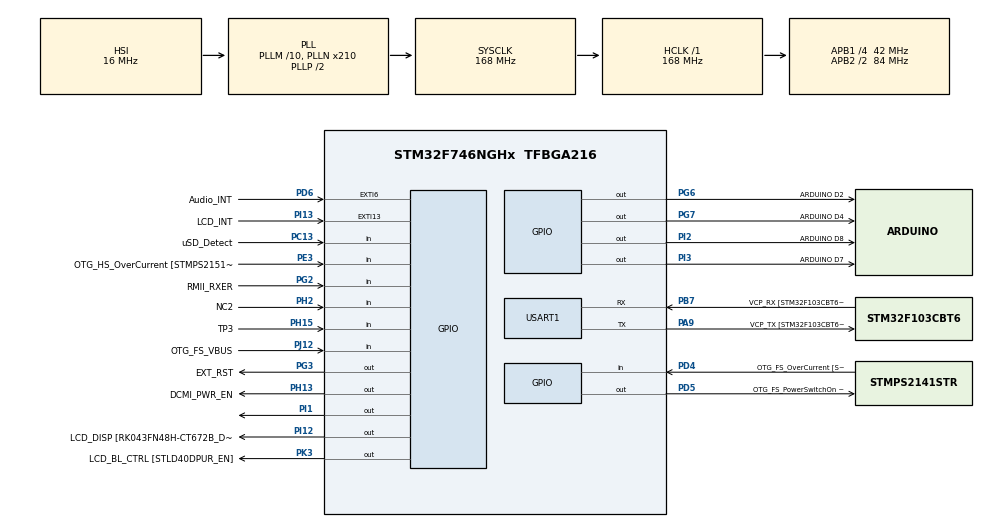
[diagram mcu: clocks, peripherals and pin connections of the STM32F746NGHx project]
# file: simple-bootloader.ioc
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Mcu.Family=STM32F7
Mcu.Name=STM32F746NGHx
Mcu.Package=TFBGA216
NVIC.PriorityGroup=NVIC_PRIORITYGROUP_4
PA0/WKUP.GPIO_Label=ARDUINO A0
PA0/WKUP.GPIO_Mode=GPIO_MODE_ANALOG
PA0/WKUP.GPIO_PuPd=GPIO_NOPULL
PA0/WKUP.Signal=ADCx_IN0
PA1.GPIO_Label=RMII_REF_CLK [LAN8742A-CZ-TR_REFCLK0]
PA1.Signal=ETH_REF_CLK
PA10.GPIO_Label=OTG_FS_ID
PA10.Signal=USB_OTG_FS_ID
PA11.GPIO_Label=OTG_FS_N
PA11.Signal=USB_OTG_FS_DM
PA12.GPIO_Label=OTG_FS_P
PA12.Signal=USB_OTG_FS_DP
PA13.GPIO_Label=SWDIO
PA13.Signal=SYS_JTMS-SWDIO
PA14.GPIO_Label=SWCLK
PA14.Signal=SYS_JTCK-SWCLK
PA15.GPIO_Label=ARDUINO PWM/D9
PA15.GPIO_ModeDefaultPP=GPIO_MODE_AF_PP
PA15.GPIO_PuPd=GPIO_NOPULL
PA15.GPIO_Speed=GPIO_SPEED_FREQ_LOW
PA15.Signal=S_TIM2_CH1_ETR
PA2.GPIO_Label=RMII_MDIO [LAN8742A-CZ-TR_MDIO]
PA2.Signal=ETH_MDIO
PA3.GPIO_Label=ULPI_D0 [USB3320C-EZK_D0]
PA3.Signal=USB_OTG_HS_ULPI_D0
PA4.GPIO_Label=DCMI_HSYNC
PA4.Signal=DCMI_HSYNC
PA5.GPIO_Label=ULPI_CLK [USB3320C-EZK_CLKOUT]
PA5.Signal=USB_OTG_HS_ULPI_CK
PA6.Signal=DCMI_PIXCLK
PA7.GPIO_Label=RMII_CRS_DV [LAN8742A-CZ-TR_CRS_DV]
PA7.Signal=ETH_CRS_DV
PA8.GPIO_Label=ARDUINO PWM/D10
PA8.GPIO_ModeDefaultPP=GPIO_MODE_AF_PP
PA8.GPIO_PuPd=GPIO_NOPULL
PA8.GPIO_Speed=GPIO_SPEED_FREQ_LOW
PA8.Signal=S_TIM1_CH1
PA9.GPIO_Label=VCP_TX [STM32F103CBT6_PA3]
PA9.GPIO_Mode=GPIO_MODE_AF_PP
PA9.GPIO_PuPd=GPIO_NOPULL
PA9.GPIO_Speed=GPIO_SPEED_FREQ_LOW
PA9.Mode=Asynchronous
PA9.Signal=USART1_TX
PB0.GPIO_Label=ULPI_D1 [USB3320C-EZK_D1]
PB0.Signal=USB_OTG_HS_ULPI_D1
PB1.GPIO_Label=ULPI_D2 [USB3320C-EZK_D2]
PB1.Signal=USB_OTG_HS_ULPI_D2
PB10.GPIO_Label=ULPI_D3 [USB3320C-EZK_D3]
PB10.Signal=USB_OTG_HS_ULPI_D3
PB11.GPIO_Label=ULPI_D4 [USB3320C-EZK_D4]
PB11.Signal=USB_OTG_HS_ULPI_D4
PB12.GPIO_Label=ULPI_D5 [USB3320C-EZK_D5]
PB12.Signal=USB_OTG_HS_ULPI_D5
PB13.GPIO_Label=ULPI_D6 [USB3320C-EZK_D6]
PB13.Signal=USB_OTG_HS_ULPI_D6
PB14.GPIO_Label=ARDUINO MISO/D12
PB14.GPIO_Mode=GPIO_MODE_AF_PP
PB14.GPIO_PuPd=GPIO_NOPULL
PB14.GPIO_Speed=GPIO_SPEED_FREQ_LOW
PB14.Signal=SPI2_MISO
PB15.GPIO_Label=ARDUINO MOSI/PWM/D11
PB15.GPIO_Mode=GPIO_MODE_AF_PP
PB15.GPIO_PuPd=GPIO_NOPULL
PB15.GPIO_Speed=GPIO_SPEED_FREQ_LOW
PB15.Signal=SPI2_MOSI
PB2.Signal=QUADSPI_CLK
PB3.GPIO_Label=SWO
PB3.Signal=SYS_JTDO-SWO
PB4.GPIO_Label=ARDUINO PWM/D3
PB4.GPIO_ModeDefaultPP=GPIO_MODE_AF_PP
PB4.GPIO_PuPd=GPIO_NOPULL
PB4.GPIO_Speed=GPIO_SPEED_FREQ_LOW
PB4.Signal=S_TIM3_CH1
PB5.GPIO_Label=ULPI_D7 [USB3320C-EZK_D7]
PB5.Signal=USB_OTG_HS_ULPI_D7
PB6.GPIO_Label=QSPI_NCS [N25Q128A13EF840E_S]
PB6.Signal=QUADSPI_BK1_NCS
PB7.GPIO_Label=VCP_RX [STM32F103CBT6_PA2]
PB7.GPIO_Mode=GPIO_MODE_AF_PP
PB7.GPIO_PuPd=GPIO_NOPULL
PB7.GPIO_Speed=GPIO_SPEED_FREQ_LOW
PB7.Mode=Asynchronous
PB7.Signal=USART1_RX
PB8.GPIO_Label=ARDUINO SCL/D15
PB8.GPIO_Mode=GPIO_MODE_AF_OD
PB8.GPIO_PuPd=GPIO_NOPULL
PB8.GPIO_Speed=GPIO_SPEED_FREQ_LOW
PB8.Signal=I2C1_SCL
PB9.GPIO_Label=ARDUINO SDA/D14
PB9.GPIO_Mode=GPIO_MODE_AF_OD
PB9.GPIO_PuPd=GPIO_NOPULL
PB9.GPIO_Speed=GPIO_SPEED_FREQ_LOW
PB9.Signal=I2C1_SDA
PC0.GPIO_Label=ULPI_STP [USB3320C-EZK_STP]
PC0.Signal=USB_OTG_HS_ULPI_STP
PC1.GPIO_Label=RMII_MDC [LAN8742A-CZ-TR_MDC]
PC1.Signal=ETH_MDC
PC10.GPIO_Label=SDMMC_D2
PC10.Signal=SDMMC1_D2
PC11.GPIO_Label=SDMMC_D3
PC11.Signal=SDMMC1_D3
PC12.GPIO_Label=SDMMC_CK
PC12.Signal=SDMMC1_CK
PC13.GPIO_Label=uSD_Detect
PC13.Signal=GPIO_Input
PC14/OSC32_IN.GPIO_Label=RCC_OSC32_IN
PC14/OSC32_IN.Signal=RCC_OSC32_IN
PC15/OSC32_OUT.GPIO_Label=RCC_OSC32_OUT
PC15/OSC32_OUT.Signal=RCC_OSC32_OUT
PC2.GPIO_Label=ULPI_DIR [USB3320C-EZK_DIR]
PC2.Signal=USB_OTG_HS_ULPI_DIR
PC3.GPIO_Label=FMC_SDCKE0 [MT48LC4M32B2B5-6A_CKE]
PC3.Signal=FMC_SDCKE0
PC4.GPIO_Label=RMII_RXD0 [LAN8742A-CZ-TR_RXD0]
PC4.Signal=ETH_RXD0
PC5.GPIO_Label=RMII_RXD1 [LAN8742A-CZ-TR_RXD1]
PC5.Signal=ETH_RXD1
PC6.GPIO_Label=ARDUINO TX/D1
PC6.Signal=USART6_TX
PC7.GPIO_Label=ARDUINO RX/D0
PC7.Signal=USART6_RX
PC8.Signal=SDMMC1_D0
PC9.Signal=SDMMC1_D1
PD0.GPIO_Label=FMC_D2 [MT48LC4M32B2B5-6A_DQ2]
PD0.Signal=FMC_D2_DA2
PD1.GPIO_Label=FMC_D3 [MT48LC4M32B2B5-6A_DQ3]
PD1.Signal=FMC_D3_DA3
PD10.GPIO_Label=FMC_D15 [MT48LC4M32B2B5-6A_DQ15]
PD10.Signal=FMC_D15_DA15
PD11.GPIO_Label=QSPI_D0 [N25Q128A13EF840E_DQ0]
PD11.Signal=QUADSPI_BK1_IO0
PD12.GPIO_Label=QSPI_D1 [N25Q128A13EF840E_DQ1]
PD12.Signal=QUADSPI_BK1_IO1
PD13.GPIO_Label=QSPI_D3 [N25Q128A13EF840E_DQ3]
PD13.Signal=QUADSPI_BK1_IO3
PD14.GPIO_Label=FMC_D0 [MT48LC4M32B2B5-6A_DQ0]
PD14.Signal=FMC_D0_DA0
PD15.GPIO_Label=FMC_D1 [MT48LC4M32B2B5-6A_DQ1]
PD15.Signal=FMC_D1_DA1
PD2.GPIO_Label=SDMMC_D0
PD2.Signal=SDMMC1_CMD
PD3.GPIO_Label=DCMI_D5
PD3.Signal=DCMI_D5
PD4.GPIO_Label=OTG_FS_OverCurrent [STMPS2141STR_Fault]
PD4.Signal=GPIO_Input
PD5.GPIO_Label=OTG_FS_PowerSwitchOn [STMPS2141STR_EN]
PD5.PinState=GPIO_PIN_SET
PD5.Signal=GPIO_Output
PD6.GPIO_Label=Audio_INT
PD6.GPIO_ModeDefaultEXTI=GPIO_MODE_EVT_RISING
PD6.Signal=GPXTI6
PD7.GPIO_Label=SPDIF_RX0 [74LVC1G04SE_4]
PD7.Signal=SPDIFRX_IN0
PD8.GPIO_Label=FMC_D13 [MT48LC4M32B2B5-6A_DQ13]
PD8.Signal=FMC_D13_DA13
PD9.GPIO_Label=FMC_D14 [MT48LC4M32B2B5-6A_DQ14]
PD9.Signal=FMC_D14_DA14
PE0.GPIO_Label=FMC_NBL0 [MT48LC4M32B2B5-6A_DQM0]
PE0.Signal=FMC_NBL0
PE1.GPIO_Label=FMC_NBL1 [MT48LC4M32B2B5-6A_DQM1]
PE1.Signal=FMC_NBL1
PE10.GPIO_Label=FMC_D7 [MT48LC4M32B2B5-6A_DQ7]
PE10.Signal=FMC_D7_DA7
PE11.GPIO_Label=FMC_D8 [MT48LC4M32B2B5-6A_DQ8]
PE11.Signal=FMC_D8_DA8
PE12.GPIO_Label=FMC_D9 [MT48LC4M32B2B5-6A_DQ9]
PE12.Signal=FMC_D9_DA9
PE13.GPIO_Label=FMC_D10 [MT48LC4M32B2B5-6A_DQ10]
PE13.Signal=FMC_D10_DA10
PE14.GPIO_Label=FMC_D11 [MT48LC4M32B2B5-6A_DQ11]
PE14.Signal=FMC_D11_DA11
PE15.GPIO_Label=FMC_D12 [MT48LC4M32B2B5-6A_DQ12]
PE15.Signal=FMC_D12_DA12
PE2.GPIO_Label=QSPI_D2 [N25Q128A13EF840E_DQ2]
PE2.Signal=QUADSPI_BK1_IO2
PE3.GPIO_Label=OTG_HS_OverCurrent [STMPS2151STR_FAULT]
PE3.Signal=GPIO_Input
PE4.GPIO_Label=LCD_B0 [RK043FN48H-CT672B_B0]
PE4.Signal=LTDC_B0
PE5.GPIO_Label=DCMI_D6
PE5.Signal=DCMI_D6
PE6.GPIO_Label=DCMI_D7
PE6.Signal=DCMI_D7
PE7.GPIO_Label=FMC_D4 [MT48LC4M32B2B5-6A_DQ4]
PE7.Signal=FMC_D4_DA4
PE8.GPIO_Label=FMC_D5 [MT48LC4M32B2B5-6A_DQ5]
PE8.Signal=FMC_D5_DA5
PE9.GPIO_Label=FMC_D6 [MT48LC4M32B2B5-6A_DQ6]
PE9.Signal=FMC_D6_DA6
PF0.GPIO_Label=FMC_A0 [MT48LC4M32B2B5-6A_A0]
PF0.Signal=FMC_A0
PF1.GPIO_Label=FMC_A1 [MT48LC4M32B2B5-6A_A1]
PF1.Signal=FMC_A1
PF10.GPIO_Label=ARDUINO A1
PF10.GPIO_Mode=GPIO_MODE_ANALOG
PF10.GPIO_PuPd=GPIO_NOPULL
PF10.Signal=ADC3_IN8
PF11.GPIO_Label=FMC_SDNRAS [MT48LC4M32B2B5-6A_RAS]
PF11.Signal=FMC_SDNRAS
PF12.GPIO_Label=FMC_A6 [MT48LC4M32B2B5-6A_A6]
PF12.Signal=FMC_A6
PF13.GPIO_Label=FMC_A7 [MT48LC4M32B2B5-6A_A7]
PF13.Signal=FMC_A7
PF14.GPIO_Label=FMC_A8 [MT48LC4M32B2B5-6A_A8]
PF14.Signal=FMC_A8
PF15.GPIO_Label=FMC_A9 [MT48LC4M32B2B5-6A_A9]
PF15.Signal=FMC_A9
PF2.GPIO_Label=FMC_A2 [MT48LC4M32B2B5-6A_A2]
PF2.Signal=FMC_A2
PF3.GPIO_Label=FMC_A3 [MT48LC4M32B2B5-6A_A3]
PF3.Signal=FMC_A3
PF4.GPIO_Label=FMC_A4 [MT48LC4M32B2B5-6A_A4]
PF4.Signal=FMC_A4
PF5.GPIO_Label=FMC_A5 [MT48LC4M32B2B5-6A_A5]
PF5.Signal=FMC_A5
PF6.GPIO_Label=ARDUINO A5
PF6.GPIO_Mode=GPIO_MODE_ANALOG
PF6.GPIO_PuPd=GPIO_NOPULL
PF6.Signal=ADC3_IN4
PF7.GPIO_Label=ARDUINO A4
PF7.GPIO_Mode=GPIO_MODE_ANALOG
PF7.GPIO_PuPd=GPIO_NOPULL
PF7.Signal=ADC3_IN5
PF8.GPIO_Label=ARDUINO A3
PF8.GPIO_Mode=GPIO_MODE_ANALOG
PF8.GPIO_PuPd=GPIO_NOPULL
PF8.Signal=ADC3_IN6
PF9.GPIO_Label=ARDUINO A2
PF9.GPIO_Mode=GPIO_MODE_ANALOG
PF9.GPIO_PuPd=GPIO_NOPULL
PF9.Signal=ADC3_IN7
PG0.GPIO_Label=FMC_A10 [MT48LC4M32B2B5-6A_A10]
PG0.Signal=FMC_A10
PG1.GPIO_Label=FMC_A11 [MT48LC4M32B2B5-6A_A11]
PG1.Signal=FMC_A11
PG10.GPIO_Label=SAI2_SDB [WM8994ECS/R_ADCDAT1]
PG10.Signal=SAI2_SD_B
PG11.GPIO_Label=RMII_TX_EN [LAN8742A-CZ-TR_TXEN]
PG11.Signal=ETH_TX_EN
PG12.GPIO_Label=LCD_B4 [RK043FN48H-CT672B_B4]
PG12.Signal=LTDC_B4
PG13.GPIO_Label=RMII_TXD0 [LAN8742A-CZ-TR_TXD0]
PG13.Signal=ETH_TXD0
PG14.GPIO_Label=RMII_TXD1 [LAN8742A-CZ-TR_TXD1]
PG14.Signal=ETH_TXD1
PG15.GPIO_Label=FMC_SDNCAS [MT48LC4M32B2B5-6A_CAS]
PG15.Signal=FMC_SDNCAS
PG2.GPIO_Label=RMII_RXER
PG2.Signal=GPIO_Input
PG3.GPIO_Label=EXT_RST
PG3.Signal=GPIO_Output
PG4.GPIO_Label=FMC_BA0 [MT48LC4M32B2B5-6A_BA0]
PG4.Signal=FMC_A14_BA0
PG5.GPIO_Label=FMC_BA1 [MT48LC4M32B2B5-6A_BA1]
PG5.Signal=FMC_A15_BA1
PG6.GPIO_Label=ARDUINO D2
PG6.Signal=GPIO_Output
PG7.GPIO_Label=ARDUINO D4
PG7.Signal=GPIO_Output
PG8.GPIO_Label=FMC_SDCLK [MT48LC4M32B2B5-6A_CLK]
PG8.Signal=FMC_SDCLK
PG9.GPIO_Label=DCMI_VSYNC
PG9.Signal=DCMI_VSYNC
PH0/OSC_IN.GPIO_Label=OSC_25M [NZ2520SB-25.00M_OUT]
PH0/OSC_IN.Signal=RCC_OSC_IN
PH1/OSC_OUT.Signal=RCC_OSC_OUT
PH10.GPIO_Label=DCMI_D1
PH10.Signal=DCMI_D1
PH11.GPIO_Label=DCMI_D2
PH11.Signal=DCMI_D2
PH12.GPIO_Label=DCMI_D3
PH12.Signal=DCMI_D3
PH13.GPIO_Label=DCMI_PWR_EN
PH13.Signal=GPIO_Output
PH14.GPIO_Label=DCMI_D4
PH14.Signal=DCMI_D4
PH15.GPIO_Label=TP3
PH15.Signal=GPIO_Input
PH2.GPIO_Label=NC2
PH2.Signal=GPIO_Input
PH3.GPIO_Label=FMC_SDNE0 [MT48LC4M32B2B5-6A_CS]
PH3.Signal=FMC_SDNE0
PH4.GPIO_Label=ULPI_NXT [USB3320C-EZK_NXT]
PH4.Signal=USB_OTG_HS_ULPI_NXT
PH5.GPIO_Label=FMC_SDNME [MT48LC4M32B2B5-6A_WE]
PH5.Signal=FMC_SDNWE
PH6.GPIO_Label=ARDUINO PWM/D6
PH6.Signal=S_TIM12_CH1
PH7.GPIO_Label=LCD_SCL [RK043FN48H-CT672B_SCL]
PH7.Signal=I2C3_SCL
PH8.GPIO_Label=LCD_SDA [RK043FN48H-CT672B_SDA]
PH8.Signal=I2C3_SDA
PH9.GPIO_Label=DCMI_D0
PH9.Signal=DCMI_D0
PI0.GPIO_Label=ARDUINO PWM/CS/D5
PI0.GPIO_ModeDefaultPP=GPIO_MODE_AF_PP
PI0.GPIO_PuPd=GPIO_NOPULL
PI0.GPIO_Speed=GPIO_SPEED_FREQ_LOW
PI0.Signal=S_TIM5_CH4
PI1.Signal=GPIO_Output
PI10.GPIO_Label=LCD_HSYNC [RK043FN48H-CT672B_HSYNC]
PI10.Signal=LTDC_HSYNC
PI12.GPIO_Label=LCD_DISP [RK043FN48H-CT672B_DISP] 
PI12.Signal=GPIO_Output
PI13.GPIO_Label=LCD_INT
PI13.GPIO_ModeDefaultEXTI=GPIO_MODE_EVT_RISING
PI13.Signal=GPXTI13
PI14.GPIO_Label=LCD_CLK [RK043FN48H-CT672B_CLK]
PI14.Signal=LTDC_CLK
PI15.GPIO_Label=LCD_R0 [RK043FN48H-CT672B_R0]
PI15.Signal=LTDC_R0
PI2.GPIO_Label=ARDUINO D8
PI2.Signal=GPIO_Output
PI3.GPIO_Label=ARDUINO D7
PI3.Signal=GPIO_Output
PI4.GPIO_Label=SAI2_MCLKA [WM8994ECS/R_MCLK1]
PI4.Signal=SAI2_MCLK_A
PI5.GPIO_Label=SAI2_SCKA [WM8994ECS/R_BCLK1]
PI5.Signal=SAI2_SCK_A
PI6.GPIO_Label=SAI2_SDA [WM8994ECS/R_DACDAT1]
PI6.Signal=SAI2_SD_A
PI7.GPIO_Label=SAI2_FSA [WM8994ECS/R_LRCLK1]
PI7.Signal=SAI2_FS_A
PI8.GPIO_Label=NC1 [TP2]
PI8.Signal=RTC_TS
PI9.GPIO_Label=LCD_VSYNC [RK043FN48H-CT672B_VSYNC]
PI9.Signal=LTDC_VSYNC
PJ0.GPIO_Label=LCD_R1 [RK043FN48H-CT672B_R1]
PJ0.Signal=LTDC_R1
PJ1.GPIO_Label=LCD_R2 [RK043FN48H-CT672B_R2]
PJ1.Signal=LTDC_R2
PJ10.GPIO_Label=LCD_G3 [RK043FN48H-CT672B_G3]
PJ10.Signal=LTDC_G3
PJ11.GPIO_Label=LCD_G4 [RK043FN48H-CT672B_G4]
PJ11.Signal=LTDC_G4
PJ12.GPIO_Label=OTG_FS_VBUS
PJ12.Signal=GPIO_Input
PJ13.GPIO_Label=LCD_B1 [RK043FN48H-CT672B_B1]
PJ13.Signal=LTDC_B1
PJ14.GPIO_Label=LCD_B2 [RK043FN48H-CT672B_B2]
PJ14.Signal=LTDC_B2
PJ15.GPIO_Label=LCD_B3 [RK043FN48H-CT672B_B3]
PJ15.Signal=LTDC_B3
PJ2.GPIO_Label=LCD_R3 [RK043FN48H-CT672B_R3]
PJ2.Signal=LTDC_R3
PJ3.GPIO_Label=LCD_R4 [RK043FN48H-CT672B_R4]
PJ3.Signal=LTDC_R4
PJ4.GPIO_Label=LCD_R5 [RK043FN48H-CT672B_R5]
PJ4.Signal=LTDC_R5
PJ5.GPIO_Label=LCD_R6 [RK043FN48H-CT672B_R6]
PJ5.Signal=LTDC_R6
PJ6.GPIO_Label=LCD_R7 [RK043FN48H-CT672B_R7]
PJ6.Signal=LTDC_R7
PJ7.GPIO_Label=LCD_G0 [RK043FN48H-CT672B_G0]
PJ7.Signal=LTDC_G0
PJ8.GPIO_Label=LCD_G1 [RK043FN48H-CT672B_G1]
PJ8.Signal=LTDC_G1
PJ9.GPIO_Label=LCD_G2 [RK043FN48H-CT672B_G2]
PJ9.Signal=LTDC_G2
PK0.GPIO_Label=LCD_G5 [RK043FN48H-CT672B_G5]
PK0.Signal=LTDC_G5
PK1.GPIO_Label=LCD_G6 [RK043FN48H-CT672B_G6]
PK1.Signal=LTDC_G6
PK2.GPIO_Label=LCD_G7 [RK043FN48H-CT672B_G7]
PK2.Signal=LTDC_G7
PK3.GPIO_Label=LCD_BL_CTRL [STLD40DPUR_EN]
PK3.Signal=GPIO_Output
PK4.GPIO_Label=LCD_B5 [RK043FN48H-CT672B_B5]
PK4.Signal=LTDC_B5
PK5.GPIO_Label=LCD_B6 [RK043FN48H-CT672B_B6]
PK5.Signal=LTDC_B6
PK6.GPIO_Label=LCD_B7 [RK043FN48H-CT672B_B7]
PK6.Signal=LTDC_B7
PK7.GPIO_Label=LCD_DE [RK043FN48H-CT672B_DE]
PK7.Signal=LTDC_DE
ProjectManager.HeapSize=0x200
ProjectManager.StackSize=0x400
ProjectManager.TargetToolchain=STM32CubeIDE
RCC.AHBFreq_Value=168000000
RCC.APB1CLKDivider=RCC_HCLK_DIV4
RCC.APB1Freq_Value=42000000
RCC.APB1TimFreq_Value=84000000
RCC.APB2CLKDivider=RCC_HCLK_DIV2
RCC.APB2Freq_Value=84000000
RCC.APB2TimFreq_Value=168000000
RCC.CortexFreq_Value=168000000
RCC.HCLKFreq_Value=168000000
RCC.HSE_VALUE=25000000
RCC.HSI_VALUE=16000000
RCC.LSE_VALUE=32768
RCC.PLLM=10
RCC.PLLN=210
RCC.PLLSourceVirtual=RCC_PLLSOURCE_HSI
RCC.SYSCLKFreq_VALUE=168000000
RCC.SYSCLKSource=RCC_SYSCLKSOURCE_PLLCLK
RCC.USBFreq_Value=168000000
RCC.VCOOutputFreq_Value=336000000
SH.ADCx_IN0.0=ADC3_IN0
SH.FMC_A0.0=FMC_A0
SH.FMC_A1.0=FMC_A1
SH.FMC_A10.0=FMC_A10
SH.FMC_A11.0=FMC_A11
SH.FMC_A14_BA0.0=FMC_BA0
SH.FMC_A15_BA1.0=FMC_BA1
SH.FMC_A2.0=FMC_A2
SH.FMC_A3.0=FMC_A3
SH.FMC_A4.0=FMC_A4
SH.FMC_A5.0=FMC_A5
SH.FMC_A6.0=FMC_A6
SH.FMC_A7.0=FMC_A7
SH.FMC_A8.0=FMC_A8
SH.FMC_A9.0=FMC_A9
SH.FMC_D0_DA0.0=FMC_D0
SH.FMC_D10_DA10.0=FMC_D10
SH.FMC_D11_DA11.0=FMC_D11
SH.FMC_D12_DA12.0=FMC_D12
SH.FMC_D13_DA13.0=FMC_D13
SH.FMC_D14_DA14.0=FMC_D14
SH.FMC_D15_DA15.0=FMC_D15
SH.FMC_D1_DA1.0=FMC_D1
SH.FMC_D2_DA2.0=FMC_D2
SH.FMC_D3_DA3.0=FMC_D3
SH.FMC_D4_DA4.0=FMC_D4
SH.FMC_D5_DA5.0=FMC_D5
SH.FMC_D6_DA6.0=FMC_D6
SH.FMC_D7_DA7.0=FMC_D7
SH.FMC_D8_DA8.0=FMC_D8
SH.FMC_D9_DA9.0=FMC_D9
SH.FMC_NBL0.0=FMC_NBL0
SH.FMC_NBL1.0=FMC_NBL1
SH.FMC_SDCLK.0=FMC_SDCLK
SH.FMC_SDNCAS.0=FMC_SDNCAS
SH.FMC_SDNRAS.0=FMC_SDNRAS
SH.FMC_SDNWE.0=FMC_SDNWE
SH.S_TIM12_CH1.0=TIM12_CH1
SH.S_TIM1_CH1.0=TIM1_CH1
SH.S_TIM2_CH1_ETR.0=TIM2_CH1
SH.S_TIM3_CH1.0=TIM3_CH1
SH.S_TIM5_CH4.0=TIM5_CH4
USART1.VirtualMode-Asynchronous=VM_ASYNC
board=STM32F746G-DISCO

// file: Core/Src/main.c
/* USER CODE BEGIN Header */
/**
  ******************************************************************************
  * @file           : main.c
  * @brief          : Main program body
  ******************************************************************************
  * @attention
  *
  * Copyright (c) 2024 STMicroelectronics.
  * All rights reserved.
  *
  * This software is licensed under terms that can be found in the LICENSE file
  * in the root directory of this software component.
  * If no LICENSE file comes with this software, it is provided AS-IS.
  *
  ******************************************************************************
  */
/* USER CODE END Header */
#include "main.h"

/* USER CODE BEGIN Includes */
#include <stdio.h>
#include "staticlib.h"
/* USER CODE END Includes */

/* USER CODE BEGIN PTD */
#if IAP_DEMO
typedef void (*pFunction)(void);
#endif
/* USER CODE END PTD */

/* USER CODE BEGIN PD */
#if IAP_DEMO
#define FLASH_APP_ADDR 0x08008000
#endif
/* USER CODE END PD */

/* USER CODE BEGIN PM */
typedef void (*ptrF)(uint32_t dlyticks);
/* USER CODE END PM */

UART_HandleTypeDef huart1;

/* USER CODE BEGIN PV */
unsigned char __attribute__((section(".my_buf_section_ram"))) buf_ram[128];
unsigned char __attribute__((section(".my_buf_section_flash"))) buf_flash[10] = {
  0, 1, 2, 3, 4, 5, 6, 7, 8, 9
};
#define LOCATE_FUNC __attribute__((__section__(".mysection")))

uint8_t tx_buffer[14] = "RojarSmith\n\r";
/* USER CODE END PV */

void SystemClock_Config(void);
static void MX_GPIO_Init(void);
static void MX_USART1_UART_Init(void);
/* USER CODE BEGIN PFP */
void LOCATE_FUNC Blink(uint32_t dlyticks);
/* USER CODE END PFP */

/* USER CODE BEGIN 0 */
struct BootloaderAPI
{
    void (*Blink)(uint32_t dlyticks);
    void (*TurnOn)(void);
    void (*TurnOff)(void);
};

// printf to uart //
int _write(int file, char *ptr, int len)
{
	int DataIdx;

	for(DataIdx = 0; DataIdx < len; DataIdx++)
	{
		HAL_UART_Transmit(&huart1, (uint8_t*)ptr++, 1, 100);
	}
}
/* USER CODE END 0 */

int main(void)
{
  /* USER CODE BEGIN 1 */
    struct BootloaderAPI *api = (struct BootloaderAPI *) 0x08018000;
  /* USER CODE END 1 */

  /* MCU Configuration--------------------------------------------------------*/

  /* Reset of all peripherals, Initializes the Flash interface and the Systick. */
  HAL_Init();

  /* Configure the system clock */
  SystemClock_Config();

  /* Initialize all configured peripherals */
  MX_GPIO_Init();
  MX_USART1_UART_Init();
  /* USER CODE BEGIN 2 */
#if IAP_DEMO
    printf("APP Running\r\n");
#endif
    int sum = add(1, 2);
  /* USER CODE END 2 */

  /* Infinite loop */
  /* USER CODE BEGIN WHILE */
//  GPIO_PinState state = GPIO_PIN_RESET;

  while (1)
  {
    /* USER CODE END WHILE */

    /* USER CODE BEGIN 3 */
#if IAP_DEMO
        printf("APP Running\r\n");
        api->Blink(200);
        HAL_Delay(1000);
        sum = add(sum, 1);
        printf("%d interactions\r\n", sum);
#endif
  }
  /* USER CODE END 3 */
}

void SystemClock_Config(void)
{
  RCC_OscInitTypeDef RCC_OscInitStruct = {0};
  RCC_ClkInitTypeDef RCC_ClkInitStruct = {0};

  /** Configure the main internal regulator output voltage
  */
  __HAL_RCC_PWR_CLK_ENABLE();
  __HAL_PWR_VOLTAGESCALING_CONFIG(PWR_REGULATOR_VOLTAGE_SCALE2);

  /** Initializes the RCC Oscillators according to the specified parameters
  * in the RCC_OscInitTypeDef structure.
  */
  RCC_OscInitStruct.OscillatorType = RCC_OSCILLATORTYPE_HSI;
  RCC_OscInitStruct.HSIState = RCC_HSI_ON;
  RCC_OscInitStruct.HSICalibrationValue = RCC_HSICALIBRATION_DEFAULT;
  RCC_OscInitStruct.PLL.PLLState = RCC_PLL_ON;
  RCC_OscInitStruct.PLL.PLLSource = RCC_PLLSOURCE_HSI;
  RCC_OscInitStruct.PLL.PLLM = 10;
  RCC_OscInitStruct.PLL.PLLN = 210;
  RCC_OscInitStruct.PLL.PLLP = RCC_PLLP_DIV2;
  RCC_OscInitStruct.PLL.PLLQ = 2;
  if (HAL_RCC_OscConfig(&RCC_OscInitStruct) != HAL_OK)
  {
    Error_Handler();
  }

  /** Initializes the CPU, AHB and APB buses clocks
  */
  RCC_ClkInitStruct.ClockType = RCC_CLOCKTYPE_HCLK|RCC_CLOCKTYPE_SYSCLK
                              |RCC_CLOCKTYPE_PCLK1|RCC_CLOCKTYPE_PCLK2;
  RCC_ClkInitStruct.SYSCLKSource = RCC_SYSCLKSOURCE_PLLCLK;
  RCC_ClkInitStruct.AHBCLKDivider = RCC_SYSCLK_DIV1;
  RCC_ClkInitStruct.APB1CLKDivider = RCC_HCLK_DIV4;
  RCC_ClkInitStruct.APB2CLKDivider = RCC_HCLK_DIV2;

  if (HAL_RCC_ClockConfig(&RCC_ClkInitStruct, FLASH_LATENCY_5) != HAL_OK)
  {
    Error_Handler();
  }
}

static void MX_USART1_UART_Init(void)
{

  huart1.Instance = USART1;
  huart1.Init.BaudRate = 115200;
  huart1.Init.WordLength = UART_WORDLENGTH_8B;
  huart1.Init.StopBits = UART_STOPBITS_1;
  huart1.Init.Parity = UART_PARITY_NONE;
  huart1.Init.Mode = UART_MODE_TX_RX;
  huart1.Init.HwFlowCtl = UART_HWCONTROL_NONE;
  huart1.Init.OverSampling = UART_OVERSAMPLING_16;
  huart1.Init.OneBitSampling = UART_ONE_BIT_SAMPLE_DISABLE;
  huart1.AdvancedInit.AdvFeatureInit = UART_ADVFEATURE_NO_INIT;
  if (HAL_UART_Init(&huart1) != HAL_OK)
  {
    Error_Handler();
  }

}

static void MX_GPIO_Init(void)
{
  GPIO_InitTypeDef GPIO_InitStruct = {0};

  /* GPIO Ports Clock Enable */
  __HAL_RCC_GPIOE_CLK_ENABLE();
  __HAL_RCC_GPIOG_CLK_ENABLE();
  __HAL_RCC_GPIOB_CLK_ENABLE();
  __HAL_RCC_GPIOD_CLK_ENABLE();
  __HAL_RCC_GPIOC_CLK_ENABLE();
  __HAL_RCC_GPIOA_CLK_ENABLE();
  __HAL_RCC_GPIOJ_CLK_ENABLE();
  __HAL_RCC_GPIOI_CLK_ENABLE();
  __HAL_RCC_GPIOK_CLK_ENABLE();
  __HAL_RCC_GPIOF_CLK_ENABLE();
  __HAL_RCC_GPIOH_CLK_ENABLE();

  /*Configure GPIO pin Output Level */
  HAL_GPIO_WritePin(OTG_FS_PowerSwitchOn_GPIO_Port, OTG_FS_PowerSwitchOn_Pin, GPIO_PIN_SET);

  /*Configure GPIO pin Output Level */
  HAL_GPIO_WritePin(GPIOI, ARDUINO_D7_Pin|ARDUINO_D8_Pin|GPIO_PIN_1|LCD_DISP_Pin, GPIO_PIN_RESET);

  /*Configure GPIO pin Output Level */
  HAL_GPIO_WritePin(LCD_BL_CTRL_GPIO_Port, LCD_BL_CTRL_Pin, GPIO_PIN_RESET);

  /*Configure GPIO pin Output Level */
  HAL_GPIO_WritePin(DCMI_PWR_EN_GPIO_Port, DCMI_PWR_EN_Pin, GPIO_PIN_RESET);

  /*Configure GPIO pin Output Level */
  HAL_GPIO_WritePin(GPIOG, ARDUINO_D4_Pin|ARDUINO_D2_Pin|EXT_RST_Pin, GPIO_PIN_RESET);

  /*Configure GPIO pin : LCD_B0_Pin */
  GPIO_InitStruct.Pin = LCD_B0_Pin;
  GPIO_InitStruct.Mode = GPIO_MODE_AF_PP;
  GPIO_InitStruct.Pull = GPIO_NOPULL;
  GPIO_InitStruct.Speed = GPIO_SPEED_FREQ_LOW;
  GPIO_InitStruct.Alternate = GPIO_AF14_LTDC;
  HAL_GPIO_Init(LCD_B0_GPIO_Port, &GPIO_InitStruct);

  /*Configure GPIO pin : OTG_HS_OverCurrent_Pin */
  GPIO_InitStruct.Pin = OTG_HS_OverCurrent_Pin;
  GPIO_InitStruct.Mode = GPIO_MODE_INPUT;
  GPIO_InitStruct.Pull = GPIO_NOPULL;
  HAL_GPIO_Init(OTG_HS_OverCurrent_GPIO_Port, &GPIO_InitStruct);

  /*Configure GPIO pin : QSPI_D2_Pin */
  GPIO_InitStruct.Pin = QSPI_D2_Pin;
  GPIO_InitStruct.Mode = GPIO_MODE_AF_PP;
  GPIO_InitStruct.Pull = GPIO_NOPULL;
  GPIO_InitStruct.Speed = GPIO_SPEED_FREQ_VERY_HIGH;
  GPIO_InitStruct.Alternate = GPIO_AF9_QUADSPI;
  HAL_GPIO_Init(QSPI_D2_GPIO_Port, &GPIO_InitStruct);

  /*Configure GPIO pins : RMII_TXD1_Pin RMII_TXD0_Pin RMII_TX_EN_Pin */
  GPIO_InitStruct.Pin = RMII_TXD1_Pin|RMII_TXD0_Pin|RMII_TX_EN_Pin;
  GPIO_InitStruct.Mode = GPIO_MODE_AF_PP;
  GPIO_InitStruct.Pull = GPIO_NOPULL;
  GPIO_InitStruct.Speed = GPIO_SPEED_FREQ_VERY_HIGH;
  GPIO_InitStruct.Alternate = GPIO_AF11_ETH;
  HAL_GPIO_Init(GPIOG, &GPIO_InitStruct);

  /*Configure GPIO pins : FMC_NBL1_Pin FMC_NBL0_Pin FMC_D5_Pin FMC_D6_Pin
                           FMC_D8_Pin FMC_D11_Pin FMC_D4_Pin FMC_D7_Pin
                           FMC_D9_Pin FMC_D12_Pin FMC_D10_Pin */
  GPIO_InitStruct.Pin = FMC_NBL1_Pin|FMC_NBL0_Pin|FMC_D5_Pin|FMC_D6_Pin
                          |FMC_D8_Pin|FMC_D11_Pin|FMC_D4_Pin|FMC_D7_Pin
                          |FMC_D9_Pin|FMC_D12_Pin|FMC_D10_Pin;
  GPIO_InitStruct.Mode = GPIO_MODE_AF_PP;
  GPIO_InitStruct.Pull = GPIO_NOPULL;
  GPIO_InitStruct.Speed = GPIO_SPEED_FREQ_VERY_HIGH;
  GPIO_InitStruct.Alternate = GPIO_AF12_FMC;
  HAL_GPIO_Init(GPIOE, &GPIO_InitStruct);

  /*Configure GPIO pins : ARDUINO_SCL_D15_Pin ARDUINO_SDA_D14_Pin */
  GPIO_InitStruct.Pin = ARDUINO_SCL_D15_Pin|ARDUINO_SDA_D14_Pin;
  GPIO_InitStruct.Mode = GPIO_MODE_AF_OD;
  GPIO_InitStruct.Pull = GPIO_NOPULL;
  GPIO_InitStruct.Speed = GPIO_SPEED_FREQ_LOW;
  GPIO_InitStruct.Alternate = GPIO_AF4_I2C1;
  HAL_GPIO_Init(GPIOB, &GPIO_InitStruct);

  /*Configure GPIO pins : ULPI_D7_Pin ULPI_D6_Pin ULPI_D5_Pin ULPI_D3_Pin
                           ULPI_D2_Pin ULPI_D1_Pin ULPI_D4_Pin */
  GPIO_InitStruct.Pin = ULPI_D7_Pin|ULPI_D6_Pin|ULPI_D5_Pin|ULPI_D3_Pin
                          |ULPI_D2_Pin|ULPI_D1_Pin|ULPI_D4_Pin;
  GPIO_InitStruct.Mode = GPIO_MODE_AF_PP;
  GPIO_InitStruct.Pull = GPIO_NOPULL;
  GPIO_InitStruct.Speed = GPIO_SPEED_FREQ_VERY_HIGH;
  GPIO_InitStruct.Alternate = GPIO_AF10_OTG_HS;
  HAL_GPIO_Init(GPIOB, &GPIO_InitStruct);

  /*Configure GPIO pin : ARDUINO_PWM_D3_Pin */
  GPIO_InitStruct.Pin = ARDUINO_PWM_D3_Pin;
  GPIO_InitStruct.Mode = GPIO_MODE_AF_PP;
  GPIO_InitStruct.Pull = GPIO_NOPULL;
  GPIO_InitStruct.Speed = GPIO_SPEED_FREQ_LOW;
  GPIO_InitStruct.Alternate = GPIO_AF2_TIM3;
  HAL_GPIO_Init(ARDUINO_PWM_D3_GPIO_Port, &GPIO_InitStruct);

  /*Configure GPIO pin : SPDIF_RX0_Pin */
  GPIO_InitStruct.Pin = SPDIF_RX0_Pin;
  GPIO_InitStruct.Mode = GPIO_MODE_AF_PP;
  GPIO_InitStruct.Pull = GPIO_NOPULL;
  GPIO_InitStruct.Speed = GPIO_SPEED_FREQ_LOW;
  GPIO_InitStruct.Alternate = GPIO_AF8_SPDIFRX;
  HAL_GPIO_Init(SPDIF_RX0_GPIO_Port, &GPIO_InitStruct);

  /*Configure GPIO pins : SDMMC_CK_Pin SDMMC_D3_Pin SDMMC_D2_Pin PC9
                           PC8 */
  GPIO_InitStruct.Pin = SDMMC_CK_Pin|SDMMC_D3_Pin|SDMMC_D2_Pin|GPIO_PIN_9
                          |GPIO_PIN_8;
  GPIO_InitStruct.Mode = GPIO_MODE_AF_PP;
  GPIO_InitStruct.Pull = GPIO_NOPULL;
  GPIO_InitStruct.Speed = GPIO_SPEED_FREQ_VERY_HIGH;
  GPIO_InitStruct.Alternate = GPIO_AF12_SDMMC1;
  HAL_GPIO_Init(GPIOC, &GPIO_InitStruct);

  /*Configure GPIO pin : ARDUINO_PWM_D9_Pin */
  GPIO_InitStruct.Pin = ARDUINO_PWM_D9_Pin;
  GPIO_InitStruct.Mode = GPIO_MODE_AF_PP;
  GPIO_InitStruct.Pull = GPIO_NOPULL;
  GPIO_InitStruct.Speed = GPIO_SPEED_FREQ_LOW;
  GPIO_InitStruct.Alternate = GPIO_AF1_TIM2;
  HAL_GPIO_Init(ARDUINO_PWM_D9_GPIO_Port, &GPIO_InitStruct);

  /*Configure GPIO pins : DCMI_D6_Pin DCMI_D7_Pin */
  GPIO_InitStruct.Pin = DCMI_D6_Pin|DCMI_D7_Pin;
  GPIO_InitStruct.Mode = GPIO_MODE_AF_PP;
  GPIO_InitStruct.Pull = GPIO_NOPULL;
  GPIO_InitStruct.Speed = GPIO_SPEED_FREQ_LOW;
  GPIO_InitStruct.Alternate = GPIO_AF13_DCMI;
  HAL_GPIO_Init(GPIOE, &GPIO_InitStruct);

  /*Configure GPIO pin : QSPI_NCS_Pin */
  GPIO_InitStruct.Pin = QSPI_NCS_Pin;
  GPIO_InitStruct.Mode = GPIO_MODE_AF_PP;
  GPIO_InitStruct.Pull = GPIO_NOPULL;
  GPIO_InitStruct.Speed = GPIO_SPEED_FREQ_VERY_HIGH;
  GPIO_InitStruct.Alternate = GPIO_AF10_QUADSPI;
  HAL_GPIO_Init(QSPI_NCS_GPIO_Port, &GPIO_InitStruct);

  /*Configure GPIO pins : FMC_SDNCAS_Pin FMC_SDCLK_Pin FMC_A11_Pin FMC_A10_Pin
                           FMC_BA1_Pin FMC_BA0_Pin */
  GPIO_InitStruct.Pin = FMC_SDNCAS_Pin|FMC_SDCLK_Pin|FMC_A11_Pin|FMC_A10_Pin
                          |FMC_BA1_Pin|FMC_BA0_Pin;
  GPIO_InitStruct.Mode = GPIO_MODE_AF_PP;
  GPIO_InitStruct.Pull = GPIO_NOPULL;
  GPIO_InitStruct.Speed = GPIO_SPEED_FREQ_VERY_HIGH;
  GPIO_InitStruct.Alternate = GPIO_AF12_FMC;
  HAL_GPIO_Init(GPIOG, &GPIO_InitStruct);

  /*Configure GPIO pins : LCD_B1_Pin LCD_B2_Pin LCD_B3_Pin LCD_G4_Pin
                           LCD_G1_Pin LCD_G3_Pin LCD_G0_Pin LCD_G2_Pin
                           LCD_R7_Pin LCD_R5_Pin LCD_R6_Pin LCD_R4_Pin
                           LCD_R3_Pin LCD_R1_Pin LCD_R2_Pin */
  GPIO_InitStruct.Pin = LCD_B1_Pin|LCD_B2_Pin|LCD_B3_Pin|LCD_G4_Pin
                          |LCD_G1_Pin|LCD_G3_Pin|LCD_G0_Pin|LCD_G2_Pin
                          |LCD_R7_Pin|LCD_R5_Pin|LCD_R6_Pin|LCD_R4_Pin
                          |LCD_R3_Pin|LCD_R1_Pin|LCD_R2_Pin;
  GPIO_InitStruct.Mode = GPIO_MODE_AF_PP;
  GPIO_InitStruct.Pull = GPIO_NOPULL;
  GPIO_InitStruct.Speed = GPIO_SPEED_FREQ_LOW;
  GPIO_InitStruct.Alternate = GPIO_AF14_LTDC;
  HAL_GPIO_Init(GPIOJ, &GPIO_InitStruct);

  /*Configure GPIO pin : OTG_FS_VBUS_Pin */
  GPIO_InitStruct.Pin = OTG_FS_VBUS_Pin;
  GPIO_InitStruct.Mode = GPIO_MODE_INPUT;
  GPIO_InitStruct.Pull = GPIO_NOPULL;
  HAL_GPIO_Init(OTG_FS_VBUS_GPIO_Port, &GPIO_InitStruct);

  /*Configure GPIO pin : Audio_INT_Pin */
  GPIO_InitStruct.Pin = Audio_INT_Pin;
  GPIO_InitStruct.Mode = GPIO_MODE_EVT_RISING;
  GPIO_InitStruct.Pull = GPIO_NOPULL;
  HAL_GPIO_Init(Audio_INT_GPIO_Port, &GPIO_InitStruct);

  /*Configure GPIO pins : FMC_D2_Pin FMC_D3_Pin FMC_D1_Pin FMC_D15_Pin
                           FMC_D0_Pin FMC_D14_Pin FMC_D13_Pin */
  GPIO_InitStruct.Pin = FMC_D2_Pin|FMC_D3_Pin|FMC_D1_Pin|FMC_D15_Pin
                          |FMC_D0_Pin|FMC_D14_Pin|FMC_D13_Pin;
  GPIO_InitStruct.Mode = GPIO_MODE_AF_PP;
  GPIO_InitStruct.Pull = GPIO_NOPULL;
  GPIO_InitStruct.Speed = GPIO_SPEED_FREQ_VERY_HIGH;
  GPIO_InitStruct.Alternate = GPIO_AF12_FMC;
  HAL_GPIO_Init(GPIOD, &GPIO_InitStruct);

  /*Configure GPIO pins : OTG_FS_P_Pin OTG_FS_N_Pin OTG_FS_ID_Pin */
  GPIO_InitStruct.Pin = OTG_FS_P_Pin|OTG_FS_N_Pin|OTG_FS_ID_Pin;
  GPIO_InitStruct.Mode = GPIO_MODE_AF_PP;
  GPIO_InitStruct.Pull = GPIO_NOPULL;
  GPIO_InitStruct.Speed = GPIO_SPEED_FREQ_VERY_HIGH;
  GPIO_InitStruct.Alternate = GPIO_AF10_OTG_FS;
  HAL_GPIO_Init(GPIOA, &GPIO_InitStruct);

  /*Configure GPIO pins : SAI2_MCLKA_Pin SAI2_SCKA_Pin SAI2_FSA_Pin SAI2_SDA_Pin */
  GPIO_InitStruct.Pin = SAI2_MCLKA_Pin|SAI2_SCKA_Pin|SAI2_FSA_Pin|SAI2_SDA_Pin;
  GPIO_InitStruct.Mode = GPIO_MODE_AF_PP;
  GPIO_InitStruct.Pull = GPIO_NOPULL;
  GPIO_InitStruct.Speed = GPIO_SPEED_FREQ_LOW;
  GPIO_InitStruct.Alternate = GPIO_AF10_SAI2;
  HAL_GPIO_Init(GPIOI, &GPIO_InitStruct);

  /*Configure GPIO pins : LCD_DE_Pin LCD_B7_Pin LCD_B6_Pin LCD_B5_Pin
                           LCD_G6_Pin LCD_G7_Pin LCD_G5_Pin */
  GPIO_InitStruct.Pin = LCD_DE_Pin|LCD_B7_Pin|LCD_B6_Pin|LCD_B5_Pin
                          |LCD_G6_Pin|LCD_G7_Pin|LCD_G5_Pin;
  GPIO_InitStruct.Mode = GPIO_MODE_AF_PP;
  GPIO_InitStruct.Pull = GPIO_NOPULL;
  GPIO_InitStruct.Speed = GPIO_SPEED_FREQ_LOW;
  GPIO_InitStruct.Alternate = GPIO_AF14_LTDC;
  HAL_GPIO_Init(GPIOK, &GPIO_InitStruct);

  /*Configure GPIO pin : LCD_B4_Pin */
  GPIO_InitStruct.Pin = LCD_B4_Pin;
  GPIO_InitStruct.Mode = GPIO_MODE_AF_PP;
  GPIO_InitStruct.Pull = GPIO_NOPULL;
  GPIO_InitStruct.Speed = GPIO_SPEED_FREQ_LOW;
  GPIO_InitStruct.Alternate = GPIO_AF9_LTDC;
  HAL_GPIO_Init(LCD_B4_GPIO_Port, &GPIO_InitStruct);

  /*Configure GPIO pin : SAI2_SDB_Pin */
  GPIO_InitStruct.Pin = SAI2_SDB_Pin;
  GPIO_InitStruct.Mode = GPIO_MODE_AF_PP;
  GPIO_InitStruct.Pull = GPIO_NOPULL;
  GPIO_InitStruct.Speed = GPIO_SPEED_FREQ_LOW;
  GPIO_InitStruct.Alternate = GPIO_AF10_SAI2;
  HAL_GPIO_Init(SAI2_SDB_GPIO_Port, &GPIO_InitStruct);

  /*Configure GPIO pin : OTG_FS_PowerSwitchOn_Pin */
  GPIO_InitStruct.Pin = OTG_FS_PowerSwitchOn_Pin;
  GPIO_InitStruct.Mode = GPIO_MODE_OUTPUT_PP;
  GPIO_InitStruct.Pull = GPIO_NOPULL;
  GPIO_InitStruct.Speed = GPIO_SPEED_FREQ_LOW;
  HAL_GPIO_Init(OTG_FS_PowerSwitchOn_GPIO_Port, &GPIO_InitStruct);

  /*Configure GPIO pin : DCMI_D5_Pin */
  GPIO_InitStruct.Pin = DCMI_D5_Pin;
  GPIO_InitStruct.Mode = GPIO_MODE_AF_PP;
  GPIO_InitStruct.Pull = GPIO_NOPULL;
  GPIO_InitStruct.Speed = GPIO_SPEED_FREQ_LOW;
  GPIO_InitStruct.Alternate = GPIO_AF13_DCMI;
  HAL_GPIO_Init(DCMI_D5_GPIO_Port, &GPIO_InitStruct);

  /*Configure GPIO pins : ARDUINO_D7_Pin ARDUINO_D8_Pin PI1 LCD_DISP_Pin */
  GPIO_InitStruct.Pin = ARDUINO_D7_Pin|ARDUINO_D8_Pin|GPIO_PIN_1|LCD_DISP_Pin;
  GPIO_InitStruct.Mode = GPIO_MODE_OUTPUT_PP;
  GPIO_InitStruct.Pull = GPIO_NOPULL;
  GPIO_InitStruct.Speed = GPIO_SPEED_FREQ_LOW;
  HAL_GPIO_Init(GPIOI, &GPIO_InitStruct);

  /*Configure GPIO pin : uSD_Detect_Pin */
  GPIO_InitStruct.Pin = uSD_Detect_Pin;
  GPIO_InitStruct.Mode = GPIO_MODE_INPUT;
  GPIO_InitStruct.Pull = GPIO_NOPULL;
  HAL_GPIO_Init(uSD_Detect_GPIO_Port, &GPIO_InitStruct);

  /*Configure GPIO pins : FMC_A0_Pin FMC_A1_Pin FMC_A2_Pin FMC_A3_Pin
                           FMC_A4_Pin FMC_A5_Pin FMC_A6_Pin FMC_A9_Pin
                           FMC_A7_Pin FMC_A8_Pin FMC_SDNRAS_Pin */
  GPIO_InitStruct.Pin = FMC_A0_Pin|FMC_A1_Pin|FMC_A2_Pin|FMC_A3_Pin
                          |FMC_A4_Pin|FMC_A5_Pin|FMC_A6_Pin|FMC_A9_Pin
                          |FMC_A7_Pin|FMC_A8_Pin|FMC_SDNRAS_Pin;
  GPIO_InitStruct.Mode = GPIO_MODE_AF_PP;
  GPIO_InitStruct.Pull = GPIO_NOPULL;
  GPIO_InitStruct.Speed = GPIO_SPEED_FREQ_VERY_HIGH;
  GPIO_InitStruct.Alternate = GPIO_AF12_FMC;
  HAL_GPIO_Init(GPIOF, &GPIO_InitStruct);

  /*Configure GPIO pins : LCD_HSYNC_Pin LCD_VSYNC_Pin LCD_R0_Pin LCD_CLK_Pin */
  GPIO_InitStruct.Pin = LCD_HSYNC_Pin|LCD_VSYNC_Pin|LCD_R0_Pin|LCD_CLK_Pin;
  GPIO_InitStruct.Mode = GPIO_MODE_AF_PP;
  GPIO_InitStruct.Pull = GPIO_NOPULL;
  GPIO_InitStruct.Speed = GPIO_SPEED_FREQ_LOW;
  GPIO_InitStruct.Alternate = GPIO_AF14_LTDC;
  HAL_GPIO_Init(GPIOI, &GPIO_InitStruct);

  /*Configure GPIO pin : LCD_BL_CTRL_Pin */
  GPIO_InitStruct.Pin = LCD_BL_CTRL_Pin;
  GPIO_InitStruct.Mode = GPIO_MODE_OUTPUT_PP;
  GPIO_InitStruct.Pull = GPIO_NOPULL;
  GPIO_InitStruct.Speed = GPIO_SPEED_FREQ_LOW;
  HAL_GPIO_Init(LCD_BL_CTRL_GPIO_Port, &GPIO_InitStruct);

  /*Configure GPIO pin : DCMI_VSYNC_Pin */
  GPIO_InitStruct.Pin = DCMI_VSYNC_Pin;
  GPIO_InitStruct.Mode = GPIO_MODE_AF_PP;
  GPIO_InitStruct.Pull = GPIO_NOPULL;
  GPIO_InitStruct.Speed = GPIO_SPEED_FREQ_LOW;
  GPIO_InitStruct.Alternate = GPIO_AF13_DCMI;
  HAL_GPIO_Init(DCMI_VSYNC_GPIO_Port, &GPIO_InitStruct);

  /*Configure GPIO pin : OTG_FS_OverCurrent_Pin */
  GPIO_InitStruct.Pin = OTG_FS_OverCurrent_Pin;
  GPIO_InitStruct.Mode = GPIO_MODE_INPUT;
  GPIO_InitStruct.Pull = GPIO_NOPULL;
  HAL_GPIO_Init(OTG_FS_OverCurrent_GPIO_Port, &GPIO_InitStruct);

  /*Configure GPIO pin : SDMMC_D0_Pin */
  GPIO_InitStruct.Pin = SDMMC_D0_Pin;
  GPIO_InitStruct.Mode = GPIO_MODE_AF_PP;
  GPIO_InitStruct.Pull = GPIO_NOPULL;
  GPIO_InitStruct.Speed = GPIO_SPEED_FREQ_VERY_HIGH;
  GPIO_InitStruct.Alternate = GPIO_AF12_SDMMC1;
  HAL_GPIO_Init(SDMMC_D0_GPIO_Port, &GPIO_InitStruct);

  /*Configure GPIO pins : TP3_Pin NC2_Pin */
  GPIO_InitStruct.Pin = TP3_Pin|NC2_Pin;
  GPIO_InitStruct.Mode = GPIO_MODE_INPUT;
  GPIO_InitStruct.Pull = GPIO_NOPULL;
  HAL_GPIO_Init(GPIOH, &GPIO_InitStruct);

  /*Configure GPIO pin : DCMI_PWR_EN_Pin */
  GPIO_InitStruct.Pin = DCMI_PWR_EN_Pin;
  GPIO_InitStruct.Mode = GPIO_MODE_OUTPUT_PP;
  GPIO_InitStruct.Pull = GPIO_NOPULL;
  GPIO_InitStruct.Speed = GPIO_SPEED_FREQ_LOW;
  HAL_GPIO_Init(DCMI_PWR_EN_GPIO_Port, &GPIO_InitStruct);

  /*Configure GPIO pins : DCMI_D4_Pin DCMI_D3_Pin DCMI_D0_Pin DCMI_D2_Pin
                           DCMI_D1_Pin */
  GPIO_InitStruct.Pin = DCMI_D4_Pin|DCMI_D3_Pin|DCMI_D0_Pin|DCMI_D2_Pin
                          |DCMI_D1_Pin;
  GPIO_InitStruct.Mode = GPIO_MODE_AF_PP;
  GPIO_InitStruct.Pull = GPIO_NOPULL;
  GPIO_InitStruct.Speed = GPIO_SPEED_FREQ_LOW;
  GPIO_InitStruct.Alternate = GPIO_AF13_DCMI;
  HAL_GPIO_Init(GPIOH, &GPIO_InitStruct);

  /*Configure GPIO pin : ARDUINO_PWM_CS_D5_Pin */
  GPIO_InitStruct.Pin = ARDUINO_PWM_CS_D5_Pin;
  GPIO_InitStruct.Mode = GPIO_MODE_AF_PP;
  GPIO_InitStruct.Pull = GPIO_NOPULL;
  GPIO_InitStruct.Speed = GPIO_SPEED_FREQ_LOW;
  GPIO_InitStruct.Alternate = GPIO_AF2_TIM5;
  HAL_GPIO_Init(ARDUINO_PWM_CS_D5_GPIO_Port, &GPIO_InitStruct);

  /*Configure GPIO pin : ARDUINO_PWM_D10_Pin */
  GPIO_InitStruct.Pin = ARDUINO_PWM_D10_Pin;
  GPIO_InitStruct.Mode = GPIO_MODE_AF_PP;
  GPIO_InitStruct.Pull = GPIO_NOPULL;
  GPIO_InitStruct.Speed = GPIO_SPEED_FREQ_LOW;
  GPIO_InitStruct.Alternate = GPIO_AF1_TIM1;
  HAL_GPIO_Init(ARDUINO_PWM_D10_GPIO_Port, &GPIO_InitStruct);

  /*Configure GPIO pin : LCD_INT_Pin */
  GPIO_InitStruct.Pin = LCD_INT_Pin;
  GPIO_InitStruct.Mode = GPIO_MODE_EVT_RISING;
  GPIO_InitStruct.Pull = GPIO_NOPULL;
  HAL_GPIO_Init(LCD_INT_GPIO_Port, &GPIO_InitStruct);

  /*Configure GPIO pins : ARDUINO_RX_D0_Pin ARDUINO_TX_D1_Pin */
  GPIO_InitStruct.Pin = ARDUINO_RX_D0_Pin|ARDUINO_TX_D1_Pin;
  GPIO_InitStruct.Mode = GPIO_MODE_AF_PP;
  GPIO_InitStruct.Pull = GPIO_NOPULL;
  GPIO_InitStruct.Speed = GPIO_SPEED_FREQ_VERY_HIGH;
  GPIO_InitStruct.Alternate = GPIO_AF8_USART6;
  HAL_GPIO_Init(GPIOC, &GPIO_InitStruct);

  /*Configure GPIO pin : ULPI_NXT_Pin */
  GPIO_InitStruct.Pin = ULPI_NXT_Pin;
  GPIO_InitStruct.Mode = GPIO_MODE_AF_PP;
  GPIO_InitStruct.Pull = GPIO_NOPULL;
  GPIO_InitStruct.Speed = GPIO_SPEED_FREQ_VERY_HIGH;
  GPIO_InitStruct.Alternate = GPIO_AF10_OTG_HS;
  HAL_GPIO_Init(ULPI_NXT_GPIO_Port, &GPIO_InitStruct);

  /*Configure GPIO pins : FMC_SDNME_Pin FMC_SDNE0_Pin */
  GPIO_InitStruct.Pin = FMC_SDNME_Pin|FMC_SDNE0_Pin;
  GPIO_InitStruct.Mode = GPIO_MODE_AF_PP;
  GPIO_InitStruct.Pull = GPIO_NOPULL;
  GPIO_InitStruct.Speed = GPIO_SPEED_FREQ_VERY_HIGH;
  GPIO_InitStruct.Alternate = GPIO_AF12_FMC;
  HAL_GPIO_Init(GPIOH, &GPIO_InitStruct);

  /*Configure GPIO pins : ARDUINO_D4_Pin ARDUINO_D2_Pin EXT_RST_Pin */
  GPIO_InitStruct.Pin = ARDUINO_D4_Pin|ARDUINO_D2_Pin|EXT_RST_Pin;
  GPIO_InitStruct.Mode = GPIO_MODE_OUTPUT_PP;
  GPIO_InitStruct.Pull = GPIO_NOPULL;
  GPIO_InitStruct.Speed = GPIO_SPEED_FREQ_LOW;
  HAL_GPIO_Init(GPIOG, &GPIO_InitStruct);

  /*Configure GPIO pins : ARDUINO_A4_Pin ARDUINO_A5_Pin ARDUINO_A1_Pin ARDUINO_A2_Pin
                           ARDUINO_A3_Pin */
  GPIO_InitStruct.Pin = ARDUINO_A4_Pin|ARDUINO_A5_Pin|ARDUINO_A1_Pin|ARDUINO_A2_Pin
                          |ARDUINO_A3_Pin;
  GPIO_InitStruct.Mode = GPIO_MODE_ANALOG;
  GPIO_InitStruct.Pull = GPIO_NOPULL;
  HAL_GPIO_Init(GPIOF, &GPIO_InitStruct);

  /*Configure GPIO pin : FMC_SDCKE0_Pin */
  GPIO_InitStruct.Pin = FMC_SDCKE0_Pin;
  GPIO_InitStruct.Mode = GPIO_MODE_AF_PP;
  GPIO_InitStruct.Pull = GPIO_NOPULL;
  GPIO_InitStruct.Speed = GPIO_SPEED_FREQ_VERY_HIGH;
  GPIO_InitStruct.Alternate = GPIO_AF12_FMC;
  HAL_GPIO_Init(FMC_SDCKE0_GPIO_Port, &GPIO_InitStruct);

  /*Configure GPIO pins : ULPI_STP_Pin ULPI_DIR_Pin */
  GPIO_InitStruct.Pin = ULPI_STP_Pin|ULPI_DIR_Pin;
  GPIO_InitStruct.Mode = GPIO_MODE_AF_PP;
  GPIO_InitStruct.Pull = GPIO_NOPULL;
  GPIO_InitStruct.Speed = GPIO_SPEED_FREQ_VERY_HIGH;
  GPIO_InitStruct.Alternate = GPIO_AF10_OTG_HS;
  HAL_GPIO_Init(GPIOC, &GPIO_InitStruct);

  /*Configure GPIO pins : RMII_MDC_Pin RMII_RXD0_Pin RMII_RXD1_Pin */
  GPIO_InitStruct.Pin = RMII_MDC_Pin|RMII_RXD0_Pin|RMII_RXD1_Pin;
  GPIO_InitStruct.Mode = GPIO_MODE_AF_PP;
  GPIO_InitStruct.Pull = GPIO_NOPULL;
  GPIO_InitStruct.Speed = GPIO_SPEED_FREQ_VERY_HIGH;
  GPIO_InitStruct.Alternate = GPIO_AF11_ETH;
  HAL_GPIO_Init(GPIOC, &GPIO_InitStruct);

  /*Configure GPIO pin : PB2 */
  GPIO_InitStruct.Pin = GPIO_PIN_2;
  GPIO_InitStruct.Mode = GPIO_MODE_AF_PP;
  GPIO_InitStruct.Pull = GPIO_NOPULL;
  GPIO_InitStruct.Speed = GPIO_SPEED_FREQ_VERY_HIGH;
  GPIO_InitStruct.Alternate = GPIO_AF9_QUADSPI;
  HAL_GPIO_Init(GPIOB, &GPIO_InitStruct);

  /*Configure GPIO pins : QSPI_D1_Pin QSPI_D3_Pin QSPI_D0_Pin */
  GPIO_InitStruct.Pin = QSPI_D1_Pin|QSPI_D3_Pin|QSPI_D0_Pin;
  GPIO_InitStruct.Mode = GPIO_MODE_AF_PP;
  GPIO_InitStruct.Pull = GPIO_NOPULL;
  GPIO_InitStruct.Speed = GPIO_SPEED_FREQ_VERY_HIGH;
  GPIO_InitStruct.Alternate = GPIO_AF9_QUADSPI;
  HAL_GPIO_Init(GPIOD, &GPIO_InitStruct);

  /*Configure GPIO pin : RMII_RXER_Pin */
  GPIO_InitStruct.Pin = RMII_RXER_Pin;
  GPIO_InitStruct.Mode = GPIO_MODE_INPUT;
  GPIO_InitStruct.Pull = GPIO_NOPULL;
  HAL_GPIO_Init(RMII_RXER_GPIO_Port, &GPIO_InitStruct);

  /*Configure GPIO pins : RMII_REF_CLK_Pin RMII_MDIO_Pin RMII_CRS_DV_Pin */
  GPIO_InitStruct.Pin = RMII_REF_CLK_Pin|RMII_MDIO_Pin|RMII_CRS_DV_Pin;
  GPIO_InitStruct.Mode = GPIO_MODE_AF_PP;
  GPIO_InitStruct.Pull = GPIO_NOPULL;
  GPIO_InitStruct.Speed = GPIO_SPEED_FREQ_VERY_HIGH;
  GPIO_InitStruct.Alternate = GPIO_AF11_ETH;
  HAL_GPIO_Init(GPIOA, &GPIO_InitStruct);

  /*Configure GPIO pin : ARDUINO_A0_Pin */
  GPIO_InitStruct.Pin = ARDUINO_A0_Pin;
  GPIO_InitStruct.Mode = GPIO_MODE_ANALOG;
  GPIO_InitStruct.Pull = GPIO_NOPULL;
  HAL_GPIO_Init(ARDUINO_A0_GPIO_Port, &GPIO_InitStruct);

  /*Configure GPIO pins : DCMI_HSYNC_Pin PA6 */
  GPIO_InitStruct.Pin = DCMI_HSYNC_Pin|GPIO_PIN_6;
  GPIO_InitStruct.Mode = GPIO_MODE_AF_PP;
  GPIO_InitStruct.Pull = GPIO_NOPULL;
  GPIO_InitStruct.Speed = GPIO_SPEED_FREQ_LOW;
  GPIO_InitStruct.Alternate = GPIO_AF13_DCMI;
  HAL_GPIO_Init(GPIOA, &GPIO_InitStruct);

  /*Configure GPIO pins : LCD_SCL_Pin LCD_SDA_Pin */
  GPIO_InitStruct.Pin = LCD_SCL_Pin|LCD_SDA_Pin;
  GPIO_InitStruct.Mode = GPIO_MODE_AF_OD;
  GPIO_InitStruct.Pull = GPIO_NOPULL;
  GPIO_InitStruct.Speed = GPIO_SPEED_FREQ_VERY_HIGH;
  GPIO_InitStruct.Alternate = GPIO_AF4_I2C3;
  HAL_GPIO_Init(GPIOH, &GPIO_InitStruct);

  /*Configure GPIO pins : ULPI_CLK_Pin ULPI_D0_Pin */
  GPIO_InitStruct.Pin = ULPI_CLK_Pin|ULPI_D0_Pin;
  GPIO_InitStruct.Mode = GPIO_MODE_AF_PP;
  GPIO_InitStruct.Pull = GPIO_NOPULL;
  GPIO_InitStruct.Speed = GPIO_SPEED_FREQ_VERY_HIGH;
  GPIO_InitStruct.Alternate = GPIO_AF10_OTG_HS;
  HAL_GPIO_Init(GPIOA, &GPIO_InitStruct);

  /*Configure GPIO pin : ARDUINO_PWM_D6_Pin */
  GPIO_InitStruct.Pin = ARDUINO_PWM_D6_Pin;
  GPIO_InitStruct.Mode = GPIO_MODE_AF_PP;
  GPIO_InitStruct.Pull = GPIO_NOPULL;
  GPIO_InitStruct.Speed = GPIO_SPEED_FREQ_LOW;
  GPIO_InitStruct.Alternate = GPIO_AF9_TIM12;
  HAL_GPIO_Init(ARDUINO_PWM_D6_GPIO_Port, &GPIO_InitStruct);

  /*Configure GPIO pins : ARDUINO_MISO_D12_Pin ARDUINO_MOSI_PWM_D11_Pin */
  GPIO_InitStruct.Pin = ARDUINO_MISO_D12_Pin|ARDUINO_MOSI_PWM_D11_Pin;
  GPIO_InitStruct.Mode = GPIO_MODE_AF_PP;
  GPIO_InitStruct.Pull = GPIO_NOPULL;
  GPIO_InitStruct.Speed = GPIO_SPEED_FREQ_LOW;
  GPIO_InitStruct.Alternate = GPIO_AF5_SPI2;
  HAL_GPIO_Init(GPIOB, &GPIO_InitStruct);

}

void Error_Handler(void)
{
  __disable_irq();
  while (1)
  {
  }
}
